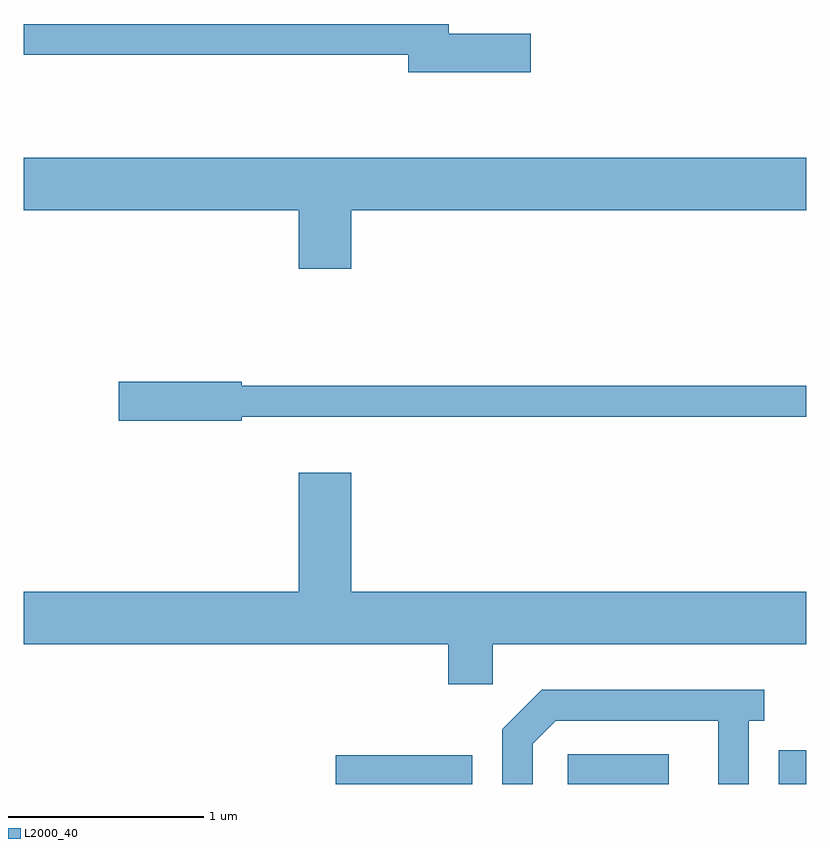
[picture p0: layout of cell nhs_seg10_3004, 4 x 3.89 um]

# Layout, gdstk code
import gdstk
lib = gdstk.Library(unit=1e-6, precision=1e-09)
def R(c, l, rs):  # rectangles x0, y0, x1, y1
    for r in rs: c.add(gdstk.rectangle(r[:2], r[2:], *l))
def P(c, l, *ps):  # polygons
    for p in ps: c.add(gdstk.Polygon(p, *l))
L2000_40 = (2000, 40)

nhs_seg10_3004 = lib.new_cell('nhs_seg10_3004')
R(nhs_seg10_3004, L2000_40, [(275.206,2126.522,275.904,2126.669), (276.391,2126.522,276.908,2126.674), (277.471,2126.522,277.611,2126.694)])
P(nhs_seg10_3004, L2000_40, [(276.204,2130.359),(275.784,2130.359),(275.784,2130.409),(273.611,2130.409),(273.611,2130.251),(275.576,2130.251),(275.576,2130.161),(276.204,2130.161)],
  [(275.284,2129.456),(277.611,2129.456),(277.611,2129.724),(273.611,2129.724),(273.611,2129.456),(275.016,2129.456),(275.016,2129.156),(275.284,2129.156)],
  [(274.724,2128.401),(277.611,2128.401),(277.611,2128.559),(274.724,2128.559),(274.724,2128.579),(274.096,2128.579),(274.096,2128.381),(274.724,2128.381)],
  [(276.009,2127.236),(277.611,2127.236),(277.611,2127.504),(275.284,2127.504),(275.284,2128.114),(275.016,2128.114),(275.016,2127.504),(273.611,2127.504),(273.611,2127.236),(275.781,2127.236),(275.781,2127.031),(276.009,2127.031)],
  [(276.214,2126.729),(276.332,2126.846),(277.161,2126.846),(277.161,2126.522),(277.319,2126.522),(277.319,2126.846),(277.398,2126.846),(277.398,2127.004),(276.259,2127.004),(276.056,2126.802),(276.056,2126.522),(276.214,2126.522)])

lib.write_gds('nhs_seg10_3004.gds')
